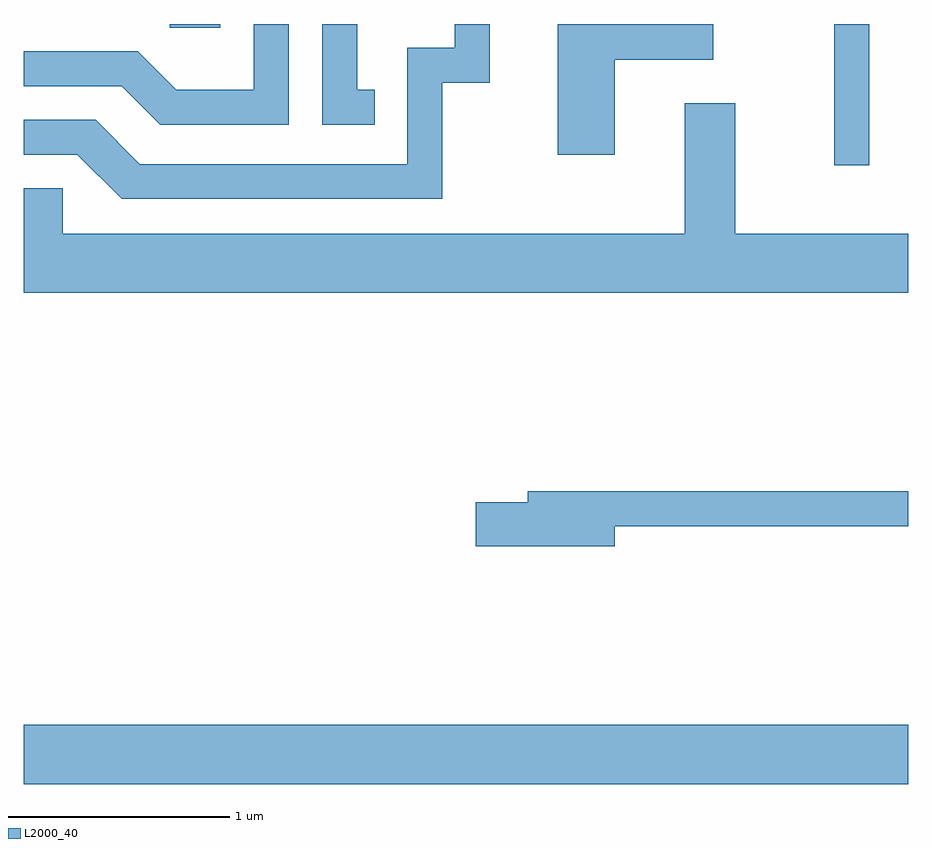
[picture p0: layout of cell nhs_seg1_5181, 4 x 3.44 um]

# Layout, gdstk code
import gdstk
lib = gdstk.Library(unit=1e-6, precision=1e-09)
def R(c, l, rs):  # rectangles x0, y0, x1, y1
    for r in rs: c.add(gdstk.rectangle(r[:2], r[2:], *l))
def P(c, l, *ps):  # polygons
    for p in ps: c.add(gdstk.Polygon(p, *l))
L2000_40 = (2000, 40)

nhs_seg1_5181 = lib.new_cell('nhs_seg1_5181')
R(nhs_seg1_5181, L2000_40, [(341.611,866.276,345.611,866.544), (345.276,869.073,345.434,869.712), (342.271,869.696,342.499,869.712)])
P(nhs_seg1_5181, L2000_40, [(343.504,869.446),(343.719,869.446),(343.719,869.712),(343.561,869.712),(343.561,869.604),(343.346,869.604),(343.346,869.079),(342.137,869.079),(341.937,869.279),(341.611,869.279),(341.611,869.121),(341.854,869.121),(342.054,868.921),(343.504,868.921)],
  [(344.284,869.551),(344.728,869.551),(344.728,869.712),(344.026,869.712),(344.026,869.121),(344.284,869.121)],
  [(343.198,869.414),(343.119,869.414),(343.119,869.712),(342.961,869.712),(342.961,869.256),(343.198,869.256)],
  [(342.809,869.712),(342.651,869.712),(342.651,869.414),(342.302,869.414),(342.127,869.589),(341.611,869.589),(341.611,869.431),(342.054,869.431),(342.229,869.256),(342.809,869.256)],
  [(345.611,868.764),(344.829,868.764),(344.829,869.354),(344.601,869.354),(344.601,868.764),(341.789,868.764),(341.789,868.969),(341.611,868.969),(341.611,868.496),(345.611,868.496)],
  [(344.284,867.441),(345.611,867.441),(345.611,867.599),(343.891,867.599),(343.891,867.549),(343.656,867.549),(343.656,867.351),(344.284,867.351)])

lib.write_gds('nhs_seg1_5181.gds')
